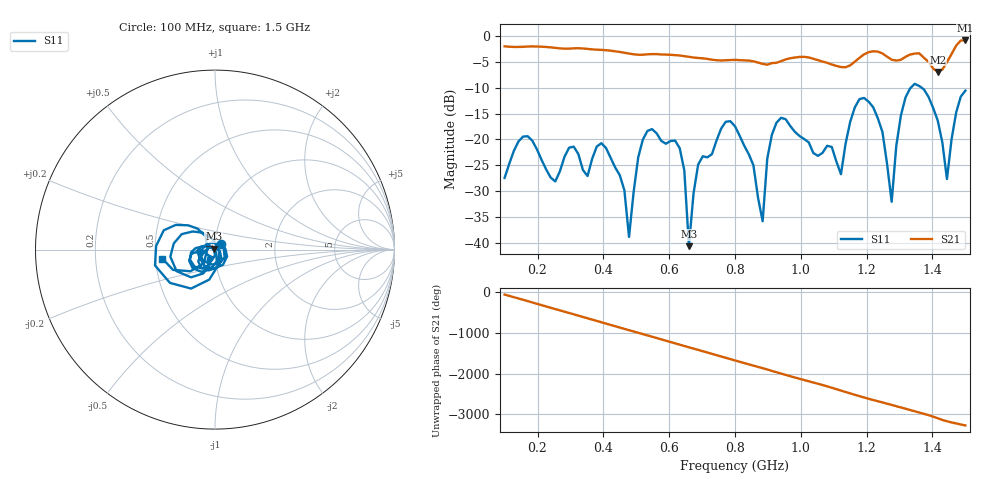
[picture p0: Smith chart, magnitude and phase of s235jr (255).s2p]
! NanoVNA-App
! Date: 2025-09-25 15:06:09
! Start: 100MHz Stop: 1,5GHz Points: 101
! S-Parameter data: F S11 S21 S12 S22
# Hz S RI R 50
!  Frequency  S11_Real  S11_Imag  S21_Real  S21_Imag  S12_Real  S12_Imag  S22_Real  S22_Imag
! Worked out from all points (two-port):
!   101 points, 100 MHz to 1.5 GHz, reference 50 ohm
!   highest |S21| = -0.82 dB at 1.5 GHz (marker M1); lowest = -6.9 dB at 1.416 GHz (marker M2)
!   |S21| within 3 dB of the highest: start of sweep to 641.3 MHz; 1.186 GHz to 1.259 GHz (73.06 MHz wide, 5.98 % of centre) (the widest 2 of 4)
!   lowest |S11| = -40.7 dB at 660 MHz (marker M3), VSWR 1.02, Z = 49.3 + j0.535 ohm
!   |S11| at or under -10 dB: start of sweep to 1.334 GHz; 1.367 GHz to end of sweep
!   S12 and S22 are empty: the file has one direction only
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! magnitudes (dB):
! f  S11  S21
! 100 MHz  -27.5  -2.0
! 156 MHz  -19.5  -2.1
! 338 MHz  -25.9  -2.4
! 408 MHz  -21.7  -2.7
! 478 MHz  -38.9  -3.4
! 520 MHz  -20.0  -3.6
! 576 MHz  -20.3  -3.5
! 632 MHz  -21.7  -3.7
! 660 MHz  -40.7  -4.0
! 688 MHz  -24.9  -4.2
! 800 MHz  -17.5  -4.6
! 884 MHz  -35.9  -5.4
! 926 MHz  -16.8  -5.2
! 1.038 GHz  -22.6  -4.4
! 1.122 GHz  -26.8  -6.0
! 1.192 GHz  -12.0  -3.5
! 1.248 GHz  -18.6  -3.3
! 1.276 GHz  -32.1  -4.6
! 1.332 GHz  -10.1  -3.6
! 1.416 GHz  -16.4  -6.9
! 1.444 GHz  -27.7  -5.0
! 1.5 GHz  -10.5  -0.8
